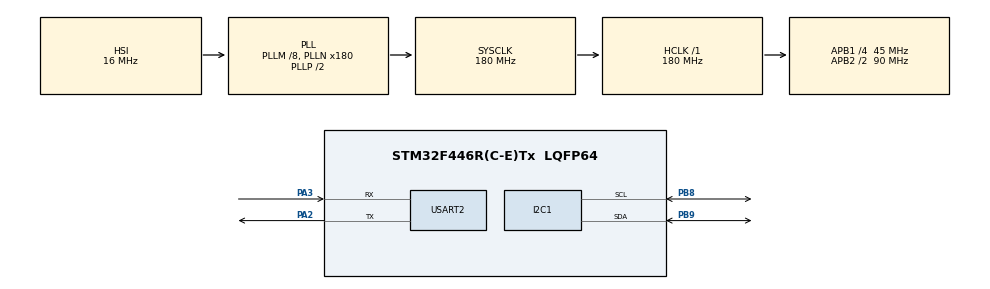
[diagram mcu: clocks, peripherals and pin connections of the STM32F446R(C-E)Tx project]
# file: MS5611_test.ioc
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Mcu.Family=STM32F4
Mcu.Name=STM32F446R(C-E)Tx
Mcu.Package=LQFP64
NVIC.I2C1_EV_IRQn=true\:0\:0\:false\:false\:true\:true\:true\:true
NVIC.PriorityGroup=NVIC_PRIORITYGROUP_4
PA2.Mode=Asynchronous
PA2.Signal=USART2_TX
PA3.Mode=Asynchronous
PA3.Signal=USART2_RX
PB8.Mode=I2C
PB8.Signal=I2C1_SCL
PB9.Mode=I2C
PB9.Signal=I2C1_SDA
PH0-OSC_IN.Mode=HSE-External-Oscillator
PH0-OSC_IN.Signal=RCC_OSC_IN
PH1-OSC_OUT.Mode=HSE-External-Oscillator
PH1-OSC_OUT.Signal=RCC_OSC_OUT
ProjectManager.HeapSize=0x200
ProjectManager.StackSize=0x400
ProjectManager.TargetToolchain=STM32CubeIDE
RCC.AHBFreq_Value=180000000
RCC.APB1CLKDivider=RCC_HCLK_DIV4
RCC.APB1Freq_Value=45000000
RCC.APB1TimFreq_Value=90000000
RCC.APB2CLKDivider=RCC_HCLK_DIV2
RCC.APB2Freq_Value=90000000
RCC.APB2TimFreq_Value=180000000
RCC.CortexFreq_Value=180000000
RCC.HCLKFreq_Value=180000000
RCC.PLLM=8
RCC.PLLN=180
RCC.SYSCLKFreq_VALUE=180000000
RCC.SYSCLKSource=RCC_SYSCLKSOURCE_PLLCLK
RCC.USBFreq_Value=180000000
RCC.VCOOutputFreq_Value=360000000
TIM6.Period=65535-1
TIM6.Prescaler=90-1
USART2.VirtualMode=VM_ASYNC
VP_TIM6_VS_ClockSourceINT.Mode=Enable_Timer
board=custom

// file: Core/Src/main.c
/* USER CODE BEGIN Header */
/**
  ******************************************************************************
  * @file           : main.c
  * @brief          : Main program body
  ******************************************************************************
  * @attention
  *
  * Copyright (c) 2023 STMicroelectronics.
  * All rights reserved.
  *
  * This software is licensed under terms that can be found in the LICENSE file
  * in the root directory of this software component.
  * If no LICENSE file comes with this software, it is provided AS-IS.
  *
  ******************************************************************************
  */
/* USER CODE END Header */
#include "main.h"
#include "i2c.h"
#include "tim.h"
#include "usart.h"
#include "gpio.h"

/* USER CODE BEGIN Includes */
#include "ms5611_API.h"
/* USER CODE END Includes */

/* USER CODE BEGIN PV */
uint8_t barometer_state;
Altitude altitude;
Velocity velocity;
uint8_t data;
/* USER CODE END PV */

void SystemClock_Config(void);

/* USER CODE BEGIN 0 */
void HAL_I2C_MasterRxCpltCallback(I2C_HandleTypeDef *hi2c){
	if(hi2c->Instance == hi2c1.Instance){
		switch(barometer_state){

		case TEMPERATURE_CALLBACK:
			barometer_pressure_IT();
			barometer_state = PRESSURE_CALLBACK;
			break;

		case PRESSURE_CALLBACK:
			read_Altitude(&altitude,&velocity);
			barometer_temperature_IT();
			barometer_state = TEMPERATURE_CALLBACK;
			break;
		}
	}
}
/* USER CODE END 0 */

int main(void)
{

  /* MCU Configuration--------------------------------------------------------*/

  /* Reset of all peripherals, Initializes the Flash interface and the Systick. */
  HAL_Init();

  /* Configure the system clock */
  SystemClock_Config();

  /* Initialize all configured peripherals */
  MX_GPIO_Init();
  MX_TIM6_Init();
  MX_I2C1_Init();
  MX_USART2_UART_Init();
  /* USER CODE BEGIN 2 */
  HAL_TIM_Base_Start(&htim6);
  ms5611_config();
  /* USER CODE END 2 */

  /* Infinite loop */
  /* USER CODE BEGIN WHILE */
  while (1)
  {

	  	HAL_I2C_Master_Transmit(&hi2c1, 0x77 << 1, 0x00, 1, 100); //chip ID okuma denemesi
	  	HAL_Delay(10);
	  	HAL_I2C_Master_Receive(&hi2c1, 0x77 << 1 | 0x01, data, 1, 100);
    /* USER CODE END WHILE */

  }
}

void SystemClock_Config(void)
{
  RCC_OscInitTypeDef RCC_OscInitStruct = {0};
  RCC_ClkInitTypeDef RCC_ClkInitStruct = {0};

  /** Configure the main internal regulator output voltage
  */
  __HAL_RCC_PWR_CLK_ENABLE();
  __HAL_PWR_VOLTAGESCALING_CONFIG(PWR_REGULATOR_VOLTAGE_SCALE1);

  /** Initializes the RCC Oscillators according to the specified parameters
  * in the RCC_OscInitTypeDef structure.
  */
  RCC_OscInitStruct.OscillatorType = RCC_OSCILLATORTYPE_HSI;
  RCC_OscInitStruct.HSIState = RCC_HSI_ON;
  RCC_OscInitStruct.HSICalibrationValue = RCC_HSICALIBRATION_DEFAULT;
  RCC_OscInitStruct.PLL.PLLState = RCC_PLL_ON;
  RCC_OscInitStruct.PLL.PLLSource = RCC_PLLSOURCE_HSI;
  RCC_OscInitStruct.PLL.PLLM = 8;
  RCC_OscInitStruct.PLL.PLLN = 180;
  RCC_OscInitStruct.PLL.PLLP = RCC_PLLP_DIV2;
  RCC_OscInitStruct.PLL.PLLQ = 2;
  RCC_OscInitStruct.PLL.PLLR = 2;
  if (HAL_RCC_OscConfig(&RCC_OscInitStruct) != HAL_OK)
  {
    Error_Handler();
  }

  /** Activate the Over-Drive mode
  */
  if (HAL_PWREx_EnableOverDrive() != HAL_OK)
  {
    Error_Handler();
  }

  /** Initializes the CPU, AHB and APB buses clocks
  */
  RCC_ClkInitStruct.ClockType = RCC_CLOCKTYPE_HCLK|RCC_CLOCKTYPE_SYSCLK
                              |RCC_CLOCKTYPE_PCLK1|RCC_CLOCKTYPE_PCLK2;
  RCC_ClkInitStruct.SYSCLKSource = RCC_SYSCLKSOURCE_PLLCLK;
  RCC_ClkInitStruct.AHBCLKDivider = RCC_SYSCLK_DIV1;
  RCC_ClkInitStruct.APB1CLKDivider = RCC_HCLK_DIV4;
  RCC_ClkInitStruct.APB2CLKDivider = RCC_HCLK_DIV2;

  if (HAL_RCC_ClockConfig(&RCC_ClkInitStruct, FLASH_LATENCY_5) != HAL_OK)
  {
    Error_Handler();
  }
}

void Error_Handler(void)
{
  __disable_irq();
  while (1)
  {
  }
}
